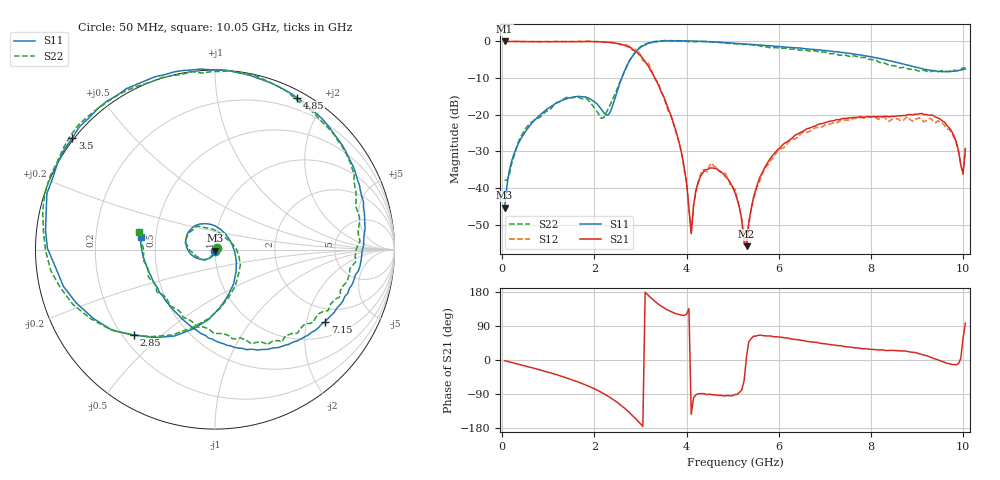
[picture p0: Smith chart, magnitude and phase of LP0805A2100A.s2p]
! AVX THIN FILM OPERATION
! 0805 Size Low Pass Filter P/N  LP0805A2100AWTR
! Network Analyzer HP8720ES.07.64: Feb 23, 2000 Serial No. US39172382
! Hewlett-Packard
!  2 Feb 2003  04:23:20
! Frequency  S11  S21  S12  S22
# HZ  S  DB R  50
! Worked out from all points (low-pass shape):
!   201 points, 50 MHz to 10.05 GHz, reference 50 ohm
!   highest |S21| = 0.02 dB at 50 MHz (marker M1); lowest = -55.9 dB at 5.3 GHz (marker M2)
!   |S21| within 3 dB of the highest: start of sweep to 2.921 GHz
!   lowest |S11| = -45.4 dB at 50 MHz (marker M3), VSWR 1.01, Z = 50.1 - j0.519 ohm
!   |S11| at or under -10 dB: start of sweep to 2.593 GHz
!   |S22| runs from -38.0 to 0.3 dB; largest |S21 - S12| = 0.056
!   S11 on the Smith chart (normalised r, x): 50 MHz: 1.00, -0.01; 2.85 GHz: 0.25, -0.41; 3.5 GHz: -0.01, +0.34; 4.85 GHz: 0.07, +1.68; 7.15 GHz: 1.49, -2.59; 10.05 GHz: 0.41, +0.07
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5e7  -45.37 -73.8  0.02 -1.8  -0.00 -1.6  -37.95 39.0
2e8  -32.82 -100.5  -0.00 -6.5  -0.03 -6.2  -33.52 -103.8
5e8  -24.61 -124.0  -0.05 -15.7  -0.03 -16.1  -23.86 -125.4
1.75e9  -15.12 137.6  -0.05 -62.9  -0.12 -63.0  -15.69 136.3
2.3e9  -20.06 17.4  -0.26 -95.9  -0.26 -95.7  -18.33 -0.9
2.85e9  -3.67 -133.4  -2.36 -149.8  -2.46 -146.4  -3.54 -134.3
3.1e9  -0.98 -173.6  -5.64 178.9  -5.43 -176.9  -0.70 -172.7
3.4e9  0.02 151.0  -12.21 146.2  -11.83 142.6  0.05 151.3
3.5e9  0.08 141.9  -15.03 138.6  -14.99 136.1  0.22 141.9
3.9e9  0.15 112.3  -30.98 118.1  -31.42 113.6  -0.00 111.0
4.1e9  0.12 100.3  -52.48 -143.6  -52.36 -145.9  -0.01 97.2
4.35e9  0.01 86.3  -35.90 -88.6  -35.03 -92.0  -0.03 83.1
4.85e9  -0.34 61.5  -37.01 -94.4  -36.24 -97.6  -0.49 58.4
5.05e9  -0.49 52.4  -41.31 -91.1  -40.45 -93.0  -0.66 48.6
5.3e9  -0.72 41.3  -55.89 8.8  -55.10 10.4  -0.83 38.1
5.7e9  -1.10 24.0  -34.30 63.9  -34.54 61.0  -1.43 22.2
6.75e9  -2.18 -18.2  -23.20 47.1  -23.84 47.1  -2.55 -20.1
7.15e9  -2.69 -33.2  -21.71 40.0  -22.37 39.1  -3.39 -34.7
8.4e9  -5.30 -80.7  -20.59 25.3  -21.79 21.9  -6.56 -84.2
9.6e9  -8.27 -150.2  -22.06 -6.1  -22.93 -5.7  -7.93 -158.3
1e10  -7.65 176.0  -36.09 58.3  -36.29 59.0  -7.24 170.4
1.005e10  -7.54 170.1  -29.38 97.5  -29.03 98.9  -7.20 166.9
